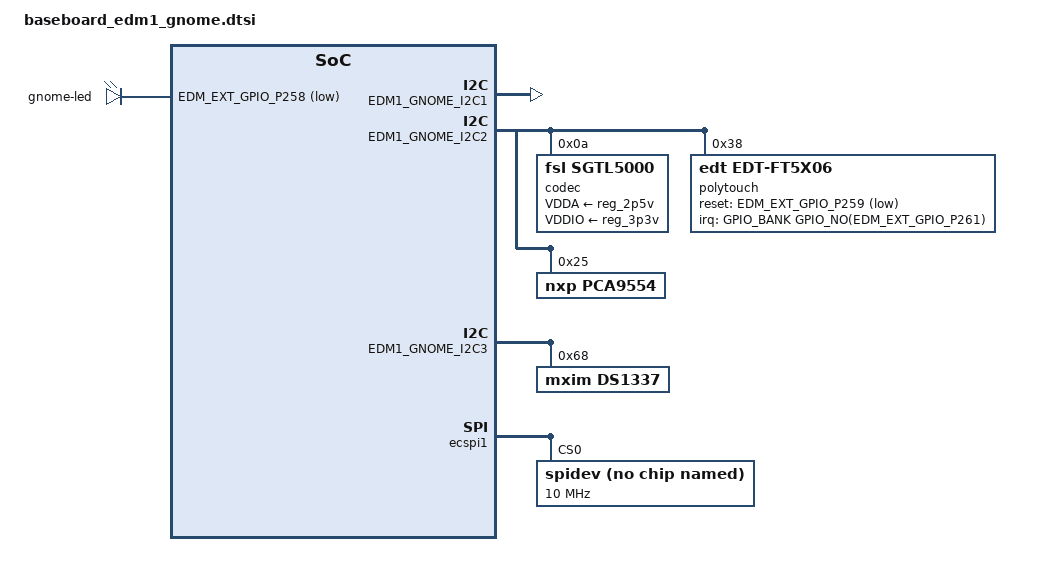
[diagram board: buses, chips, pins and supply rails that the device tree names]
/*
 * Copyright 2016 Technexion Ltd.
 *
 * Author: Wig Cheng <wig.cheng@technexion.com>
 *	   Richard Hu <richard.hu@technexion.com>
 *	   Tapani Utriainen <tapani@technexion.com>
 *
 * This program is free software; you can redistribute it and/or modify
 * it under the terms of the GNU General Public License version 2 as
 * published by the Free Software Foundation.
 *
 */

#include <tnmacro.h>

#define EXGPIO_0 pca9554 0
#define EXGPIO_1 pca9554 1
#define EXGPIO_2 pca9554 2
#define EXGPIO_3 pca9554 3
#define EXGPIO_4 pca9554 4
#define EXGPIO_5 pca9554 5
#define EXGPIO_6 pca9554 6
#define EXGPIO_7 pca9554 7

/ {
	gpio-edm {
		compatible = "gpio-edm";
/* custom GPIO may be from GPIO expander on CPU module */
#ifdef EDM_EXT_GPIO_IOMUX_GNOME
		pinctrl-names = "default";
		pinctrl-0 = <EDM_EXT_GPIO_IOMUX_GNOME>;
#endif
		ex-gpio_0 {
			label = "EXGPIO_0";
			gpios = <&EXGPIO_0 1>;
			dir   = "out";
		};
		ex-gpio_1 {
			label = "EXGPIO_1";
			gpios = <&EXGPIO_1 1>;
			dir   = "out";
		};
		ex-gpio_2 {
			label = "EXGPIO_2";
			gpios = <&EXGPIO_2 1>;
			dir   = "out";
		};
		ex-gpio_3 {
			label = "EXGPIO_3";
			gpios = <&EXGPIO_3 1>;
			dir   = "out";
		};
		ex-gpio_4 {
			label = "EXGPIO_4";
			gpios = <&EXGPIO_4 1>;
			dir   = "out";
		};
		ex-gpio_5 {
			label = "EXGPIO_5";
			gpios = <&EXGPIO_5 1>;
			dir   = "out";
		};
		ex-gpio_6 {
			label = "EXGPIO_6";
			gpios = <&EXGPIO_6 1>;
			dir   = "out";
		};
		gpio_p255 {
			label = "GPIO_P255";
			gpios = <&EDM_EXT_GPIO_P255 1>;
			dir   = "out";
		};
		gpio_p256 {
			label = "GPIO_P256";
			gpios = <&EDM_EXT_GPIO_P256 1>;
			dir   = "out";
		};
		gpio_p260 {
			label = "GPIO_P260";
			gpios = <&EDM_EXT_GPIO_P260 1>;
			dir   = "out";
		};
		gpio_p262 {
			label = "GPIO_P262";
			gpios = <&EDM_EXT_GPIO_P262 1>;
			dir   = "out";
		};
		gpio_p263 {
			label = "GPIO_P263";
			gpios = <&EDM_EXT_GPIO_P263 1>;
			dir   = "out";
		};
		gpio_p264 {
			label = "GPIO_P264";
			gpios = <&EDM_EXT_GPIO_P264 1>;
			dir   = "out";
		};
	};

	sound {
		compatible = "fsl,imx-sgtl5000",
			     "fsl,imx-audio-sgtl5000";
		model = "audio-sgtl5000";
		ssi-controller = <&EDM_AUD_I2S_CHANNEL>;
		audio-codec = <&codec>;
		audio-routing =
			"MIC_IN", "Mic Jack",
			"Mic Jack", "Mic Bias",
			"Headphone Jack", "HP_OUT";
#if defined(EDM_AUD_MUX_INT) && defined(EDM_AUD_MUX_EXT)
		mux-int-port = <EDM_AUD_MUX_INT>;
		mux-ext-port = <EDM_AUD_MUX_EXT>;
#else
	fsl,no-audmux = "true";
#endif
	};

	gpio-leds {
		compatible = "gpio-leds";
		gnome-led {
			label = "gnome-led";
			gpios = <&EDM_EXT_GPIO_P258 GPIO_ACTIVE_LOW>;
			default-state = "on";
		};
	};

	sound-spdif {
		status = "disabled";
	};

	backlight_lvds {
		status = "disabled";
	};
};

&EDM1_GNOME_I2C1 {
	status = "okay";
};

&EDM1_GNOME_I2C2 {
	status = "okay";

	codec: sgtl5000@0a {
		compatible = "fsl,sgtl5000";
		reg = <0x0a>;
		clocks = <&EDM_AUD_CLK_SRC>;
		VDDA-supply = <&reg_2p5v>;
		VDDIO-supply = <&reg_3p3v>;
	};

	polytouch: edt-ft5x06@38 {
		compatible = "edt,edt-ft5x06";
		reg = <0x38>;
#ifdef EDM1_EXT_FT5X06_IOMUX_GNOME
		pinctrl-names = "default";
		pinctrl-0 = <EDM1_EXT_FT5X06_IOMUX_GNOME>; /* Touch IRQ and Touch Reset */        
#endif
		interrupt-parent = <&GPIO_BANK(EDM_EXT_GPIO_P261)>; /* GPIO_P261 J1B-261 */
		reset-gpios = <&EDM_EXT_GPIO_P259 GPIO_ACTIVE_LOW>; /* GPIO_P259 J1B-259 */
		interrupts = <GPIO_NO(EDM_EXT_GPIO_P261) 0>;
		touchscreen-size-x = <800>;
		touchscreen-size-y = <480>;
	};

        pca9554: pca9554@25 {
		compatible = "nxp,pca9554";
		gpio-controller;
		#gpio-cells = <2>;
		#interrupt-cells = <2>;
		reg = <0x25>;
	};
};

&EDM1_GNOME_I2C3 {
	status = "okay";
	ds1337: rtc@68 {
		compatible = "mxim,ds1337";
		reg = <0x68>;
	};
};

&spdif {
	status = "disabled";
};

&ecspi1 {
	status = "okay";

	spidev@0 {
		compatible = "rohm,dh2228fv";
		spi-max-frequency = <10000000>;
		reg = <0>;
	};
};
